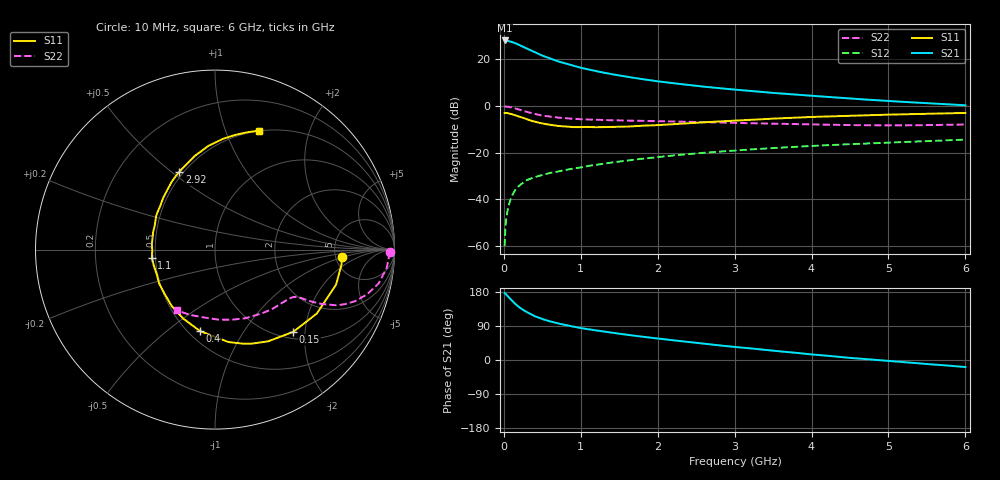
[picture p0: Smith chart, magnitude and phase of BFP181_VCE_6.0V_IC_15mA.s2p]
! Infineon Technologies  Discrete & RF Semiconductors
! BFP181
! VCE = 6.0 V,  IC =  15 mA
! Common Emitter S-Parameters:  Jan 2016
# GHz  S  MA  R  50
!  f  S11  S21  S12  S22
! GHz  MAG  ANG  MAG  ANG  MAG  ANG  MAG  ANG
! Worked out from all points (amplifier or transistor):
!   210 points, 10 MHz to 6 GHz, reference 50 ohm
!   highest |S21| = 28.0 dB at 10 MHz (marker M1)
!   |S21| within 3 dB of that: start of sweep to 269.3 MHz
!   unconditionally stable (mu >= 1): 980 MHz to end of sweep
!   at 185 MHz: K = 0.31, MSG = 30.5 dB, |S12| = -34.6 dB
!   at 1.52 GHz: K = 1.12, MAG = 16.2 dB, |S12| = -23.7 dB
!   at 6 GHz: K = 1.00, MAG = 7.0 dB, |S12| = -14.4 dB
!   S11 on the Smith chart (normalised r, x): 10 MHz: 5.66, -0.89; 150 MHz: 1.14, -1.74; 400 MHz: 0.57, -0.66; 1.1 GHz: 0.48, -0.05; 2.92 GHz: 0.48, +0.53; 6 GHz: 0.50, +1.31
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0.01  0.7059 -3.2  25.08 176.9  0.001 70.0  0.973 -0.8
0.02  0.7101 -6.6  24.9 175.3  0.0025 88.6  0.9704 -2.2
0.05  0.7022 -16.2  24.72 168.5  0.006 84.3  0.9624 -6.1
0.1  0.6702 -32.0  23.37 157.8  0.0114 74.9  0.9299 -11.8
0.15  0.6325 -46.4  21.91 147.8  0.0161 69.5  0.8831 -16.4
0.2  0.5906 -59.9  20.22 139.3  0.0197 64.9  0.8331 -20.1
0.26  0.5487 -73.0  18.05 130.9  0.0233 60.5  0.7757 -23.2
0.3  0.52 -81.8  16.83 126.1  0.0259 58.3  0.742 -24.7
0.4  0.4621 -100.2  14.08 115.6  0.03 55.2  0.672 -26.9
0.5  0.4232 -114.7  11.9 107.9  0.0332 52.6  0.6218 -28.1
0.6  0.3957 -127.7  10.36 101.9  0.0368 52.6  0.5874 -28.7
0.7  0.3739 -138.8  8.999 96.7  0.0394 52.4  0.5626 -29.1
0.8  0.3639 -148.8  8.061 92.1  0.0426 52.0  0.5441 -29.5
1.02  0.3525 -167.2  6.438 83.8  0.0489 52.7  0.5173 -30.6
1.1  0.3549 -172.4  6.028 81.0  0.052 52.6  0.5107 -31.1
1.5  0.3581 164.7  4.474 69.3  0.0644 52.1  0.4889 -34.8
2.02  0.3898 141.6  3.323 56.3  0.0812 50.0  0.4702 -41.3
2.92  0.476 114.7  2.294 36.1  0.1087 44.0  0.4367 -55.4
3.1  0.4926 110.4  2.159 32.6  0.1139 42.7  0.4293 -58.5
4.1  0.5868 91.9  1.602 13.1  0.1418 34.7  0.3982 -78.7
5.1  0.6552 78.7  1.244 -4.0  0.1664 27.3  0.383 -101.3
6  0.7068 69.7  1.031 -18.5  0.1903 20.2  0.401 -122.3
